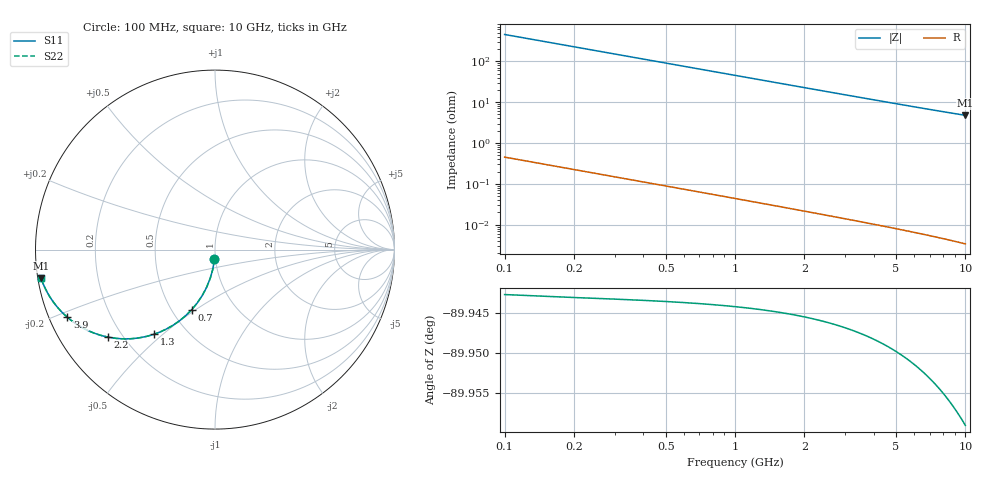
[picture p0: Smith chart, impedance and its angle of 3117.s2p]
# Hz S RI R 50.00
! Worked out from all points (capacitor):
!   100 points, 100 MHz to 10 GHz, reference 50 ohm
!   read as one part in shunt: C = 3.52 pF near 100 MHz
!   lowest |Z| = 4.76 ohm at 10 GHz (marker M1)
!   S11 on the Smith chart (normalised r, x): 100 MHz: 0.99, -0.11; 700 MHz: 0.63, -0.48; 1.3 GHz: 0.33, -0.47; 2.2 GHz: 0.15, -0.35; 3.9 GHz: 0.05, -0.22; 10 GHz: 0.01, -0.08
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1e8  -0.00306 -0.055  0.9968 -0.0553  0.9968 -0.0553  -0.00306 -0.055
2e8  -0.0122 -0.1091  0.9877 -0.1095  0.9877 -0.1095  -0.0122 -0.1091
3e8  -0.0269 -0.1611  0.973 -0.1619  0.973 -0.1619  -0.0269 -0.1611
4e8  -0.0468 -0.2104  0.9531 -0.2114  0.9531 -0.2114  -0.0468 -0.2104
5e8  -0.0713 -0.2563  0.9286 -0.2575  0.9286 -0.2575  -0.0713 -0.2563
6e8  -0.0995 -0.2981  0.9004 -0.2996  0.9004 -0.2996  -0.0995 -0.2981
7e8  -0.1306 -0.3357  0.8692 -0.3374  0.8692 -0.3374  -0.1306 -0.3357
8e8  -0.164 -0.3689  0.8359 -0.3708  0.8359 -0.3708  -0.164 -0.3689
1e9  -0.2346 -0.4221  0.7653 -0.4245  0.7653 -0.4245  -0.2346 -0.4221
1.3e9  -0.3411 -0.472  0.6588 -0.4751  0.6588 -0.4751  -0.3411 -0.472
1.5e9  -0.4079 -0.4892  0.592 -0.4927  0.592 -0.4927  -0.4079 -0.4892
1.8e9  -0.498 -0.4973  0.5019 -0.5016  0.5019 -0.5016  -0.498 -0.4973
2.2e9  -0.597 -0.4873  0.4029 -0.4926  0.4029 -0.4926  -0.597 -0.4873
2.5e9  -0.6567 -0.4713  0.3432 -0.4773  0.3432 -0.4773  -0.6567 -0.4713
2.8e9  -0.7058 -0.4518  0.2941 -0.4585  0.2941 -0.4585  -0.7058 -0.4518
3.4e9  -0.7796 -0.4098  0.2202 -0.418  0.2202 -0.418  -0.7796 -0.4098
3.9e9  -0.8232 -0.3762  0.1766 -0.3856  0.1766 -0.3856  -0.8232 -0.3762
4.5e9  -0.8612 -0.3397  0.1386 -0.3506  0.1386 -0.3506  -0.8612 -0.3397
5.1e9  -0.8886 -0.3078  0.1112 -0.3202  0.1112 -0.3202  -0.8886 -0.3078
6.7e9  -0.9325 -0.2419  0.0672 -0.2583  0.0672 -0.2583  -0.9325 -0.2419
8.4e9  -0.9562 -0.1933  0.0434 -0.2141  0.0434 -0.2141  -0.9562 -0.1933
1e10  -0.9689 -0.16  0.0307 -0.1849  0.0307 -0.1849  -0.9689 -0.16
